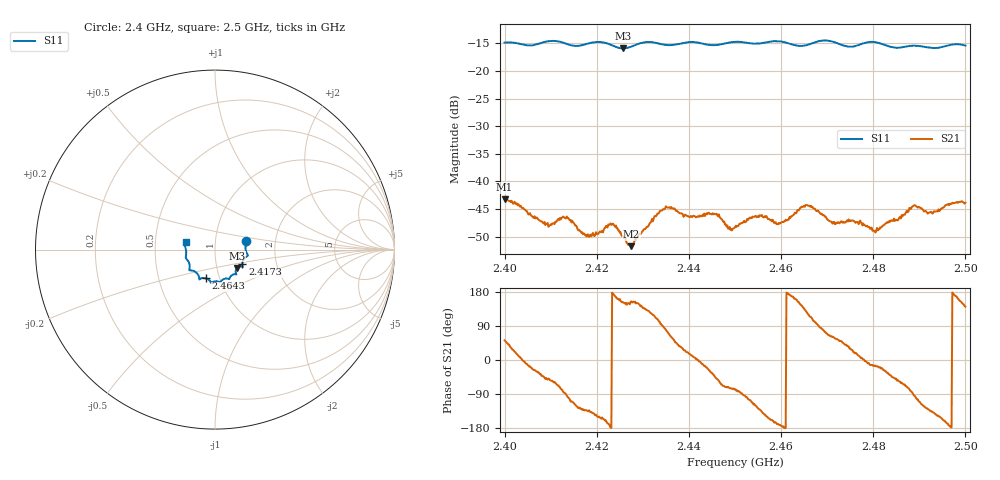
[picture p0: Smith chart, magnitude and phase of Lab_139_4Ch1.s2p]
# Hz S RI R 50
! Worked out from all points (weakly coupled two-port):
!   601 points, 2.4 GHz to 2.5 GHz, reference 50 ohm
!   highest |S21| = -43.26 dB at 2.4 GHz (marker M1); lowest = -51.7 dB at 2.4275 GHz (marker M2)
!   lowest |S11| = -15.9 dB at 2.4257 GHz (marker M3), VSWR 1.38, Z = 62.4 - j13.1 ohm
!   |S11| at or under -10 dB: start of sweep to end of sweep
!   S12 and S22 are empty: the file has one direction only
!   S11 on the Smith chart (normalised r, x): 2.4 GHz: 1.41, +0.14; 2.4173 GHz: 1.34, -0.23; 2.4643 GHz: 0.86, -0.28; 2.5 GHz: 0.72, +0.06
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2.4e9  0.1732 0.0495  0.00426 0.0054  0 0  0 0
2.409333e9  0.1825 -0.0301  0.00261 -0.00331  0 0  0 0
2.413833e9  0.1671 -0.0453  -0.000772 -0.0046  0 0  0 0
2.416667e9  0.1529 -0.0749  -0.00223 -0.00262  0 0  0 0
2.417333e9  0.1523 -0.0823  -0.00229 -0.00246  0 0  0 0
2.423167e9  0.1437 -0.0933  -0.00406 -6.14e-05  0 0  0 0
2.425667e9  0.1226 -0.1023  -0.00287 0.00147  0 0  0 0
2.4275e9  0.1155 -0.119  -0.00235 0.00111  0 0  0 0
2.433333e9  0.1128 -0.1365  -0.00132 0.00497  0 0  0 0
2.4355e9  0.0979 -0.1402  0.00183 0.00551  0 0  0 0
2.445667e9  0.0498 -0.1636  0.00359 -0.00358  0 0  0 0
2.45e9  0.0296 -0.1808  0.000874 -0.00375  0 0  0 0
2.455333e9  -0.001 -0.1769  -0.0032 -0.00377  0 0  0 0
2.4595e9  -0.0226 -0.1842  -0.00416 -0.0007  0 0  0 0
2.464333e9  -0.0503 -0.1603  -0.00473 0.00337  0 0  0 0
2.466667e9  -0.0762 -0.1597  -0.00208 0.00548  0 0  0 0
2.4715e9  -0.0872 -0.1601  0.00221 0.00371  0 0  0 0
2.480333e9  -0.143 -0.1129  0.0034 -0.000969  0 0  0 0
2.483333e9  -0.141 -0.0895  0.00338 -0.0026  0 0  0 0
2.488833e9  -0.1624 -0.0466  -0.000376 -0.00607  0 0  0 0
2.492333e9  -0.1605 -0.0216  -0.00363 -0.00379  0 0  0 0
2.5e9  -0.164 0.0422  -0.00498 0.00405  0 0  0 0
